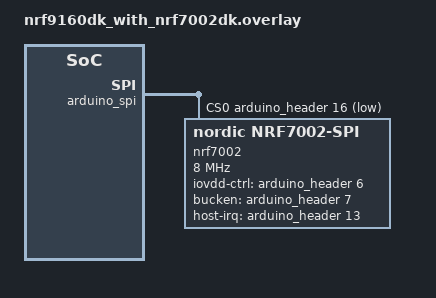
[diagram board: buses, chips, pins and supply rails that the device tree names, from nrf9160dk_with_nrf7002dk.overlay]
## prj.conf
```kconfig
#
# Copyright (c) 2021 Nordic Semiconductor ASA
#
# SPDX-License-Identifier: LicenseRef-Nordic-5-Clause
#

# General config
CONFIG_NEWLIB_LIBC=y
CONFIG_NEWLIB_LIBC_NANO=y
CONFIG_NEWLIB_LIBC_FLOAT_PRINTF=y
CONFIG_ASSERT=y
CONFIG_REBOOT=y
CONFIG_FPU=y

# Heap and stacks
CONFIG_HEAP_MEM_POOL_SIZE=47250
CONFIG_MAIN_STACK_SIZE=4096
CONFIG_SYSTEM_WORKQUEUE_STACK_SIZE=8192
CONFIG_HW_STACK_PROTECTION=y
# Increase AT monitor heap size to be able to fit both neighbor cell measurement
# and other AT notifications that may come in rapid succession.
CONFIG_AT_MONITOR_HEAP_SIZE=1024

# Logging
CONFIG_LOG=y
CONFIG_LOG_MODE_DEFERRED=y

# nRF modem library
CONFIG_NRF_MODEM_LIB=y
CONFIG_NRF_MODEM_LIB_ON_FAULT_APPLICATION_SPECIFIC=y

# AT Host library - Used to send AT commands directy from an UART terminal and to allow
#		    integration with nRF Connect for Desktop LTE Link monitor application.
CONFIG_AT_HOST_LIBRARY=y

# Network
CONFIG_NETWORKING=y
CONFIG_NET_NATIVE=n
CONFIG_NET_SOCKETS=y
CONFIG_NET_SOCKETS_OFFLOAD=y
CONFIG_NET_IPV6=y
CONFIG_NET_IPV4=y

# LTE link control
CONFIG_LTE_AUTO_INIT_AND_CONNECT=n
CONFIG_LTE_NETWORK_MODE_NBIOT_GPS=y
# PCO
# CONFIG_PDN=y 
# CONFIG_PDN_LEGACY_PCO=y 
#nRF cloud
# CONFIG_MODEM_JWT=y
# CONFIG_NRF_CLOUD_CLIENT_ID_SRC_INTERNAL_UUID=y
## Power saving timers.
### 320 hours PSM.
CONFIG_LTE_PSM_REQ_RPTAU="11000001"
### 20 seconds active time.
CONFIG_LTE_PSM_REQ_RAT="00001010"

# Settings - Used to store real-time device configuration to flash.
CONFIG_SETTINGS=y
CONFIG_SETTINGS_FCB=y
CONFIG_FCB=y

# FOTA
CONFIG_FOTA_DOWNLOAD=y
CONFIG_DFU_TARGET=y
CONFIG_DOWNLOAD_CLIENT=y
CONFIG_DOWNLOAD_CLIENT_HTTP_FRAG_SIZE_1024=y
CONFIG_DOWNLOAD_CLIENT_STACK_SIZE=4096
CONFIG_DOWNLOAD_CLIENT_BUF_SIZE=2300
CONFIG_DOWNLOAD_CLIENT_MAX_HOSTNAME_SIZE=128

# Flash - Used in FOTA, settings and storage for P-GPS.
CONFIG_FLASH=y
CONFIG_FLASH_PAGE_LAYOUT=y
CONFIG_FLASH_MAP=y
CONFIG_STREAM_FLASH=y
CONFIG_MPU_ALLOW_FLASH_WRITE=y

# MCUBOOT
CONFIG_BOOTLOADER_MCUBOOT=y
CONFIG_IMG_MANAGER=y
CONFIG_MCUBOOT_IMG_MANAGER=y
CONFIG_IMG_ERASE_PROGRESSIVELY=y
CONFIG_SECURE_BOOT=y
CONFIG_BUILD_S1_VARIANT=y

# Watchdog
CONFIG_WATCHDOG_APPLICATION=n

# Application Event Manager
CONFIG_APP_EVENT_MANAGER=y
CONFIG_APP_EVENT_MANAGER_LOG_EVENT_TYPE=n

# cJSON - Used in cloud data encoding.
CONFIG_CJSON_LIB=y

# CAF - Common Application Framework
CONFIG_CAF=y
CONFIG_LED=y
CONFIG_CAF_LEDS=y
CONFIG_CAF_INIT_LOG_LED_READY_EVENTS=n
CONFIG_CAF_INIT_LOG_LED_EVENTS=n
CONFIG_CAF_INIT_LOG_MODULE_STATE_EVENTS=n

# Location related configuration
CONFIG_LOCATION=y
CONFIG_LOCATION_REQUEST_DEFAULT_METHOD_FIRST_GNSS=y
CONFIG_LOCATION_REQUEST_DEFAULT_METHOD_SECOND_CELLULAR=y
CONFIG_LOCATION_REQUEST_DEFAULT_GNSS_TIMEOUT=90000
CONFIG_LOCATION_REQUEST_DEFAULT_CELLULAR_TIMEOUT=11000
CONFIG_LOCATION_DATA_DETAILS=y
CONFIG_LOCATION_LOG_LEVEL_WRN=y

# Default cloud transport service
CONFIG_NRF_CLOUD_MQTT=y
CONFIG_HW_ID_LIBRARY=y
CONFIG_HW_ID_LIBRARY_SOURCE_IMEI=y
```

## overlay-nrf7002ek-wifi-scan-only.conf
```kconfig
#
# Copyright (c) 2022 Nordic Semiconductor ASA
#
# SPDX-License-Identifier: LicenseRef-Nordic-5-Clause
#

# Overlay to use nRF7002 EK on top of nrf9160 DK for Wi-Fi scanning

# Disable modem traces as UART1 is disabled
CONFIG_NRF_MODEM_LIB_TRACE=n

# Does not work with buttons and LEDs
CONFIG_UI_MODULE=n
CONFIG_LED_CONTROL=n
CONFIG_LED=n
CONFIG_LED_GPIO=n
CONFIG_CAF_LEDS=n
CONFIG_DK_LIBRARY=n

# Actual configs for the Wi-Fi
CONFIG_WIFI=y
CONFIG_WIFI_NRF700X=y

# Wi-Fi location
CONFIG_LOCATION_METHOD_WIFI=y
CONFIG_LOCATION_REQUEST_DEFAULT_METHOD_FIRST_GNSS=y
CONFIG_LOCATION_REQUEST_DEFAULT_METHOD_SECOND_WIFI=y
CONFIG_LOCATION_REQUEST_DEFAULT_METHOD_THIRD_CELLULAR=y

CONFIG_LOCATION_METHOD_WIFI_SCANNING_RESULTS_MAX_CNT=30
CONFIG_LOCATION_WORKQUEUE_STACK_SIZE=8192
# Needed to handle more scan results
CONFIG_HEAP_MEM_POOL_SIZE=70000

# Not for LTE throughput testing
CONFIG_NRF_MODEM_LIB_SHMEM_TX_SIZE=4096
CONFIG_NRF_MODEM_LIB_SHMEM_RX_SIZE=4096

# Scan only using offload API
CONFIG_WPA_SUPP=n

# For nRF9160 the default is socket interface
CONFIG_NET_DEFAULT_IF_ETHERNET=y
CONFIG_MBEDTLS=n
CONFIG_NORDIC_SECURITY_BACKEND=n

# Networking
CONFIG_NET_L2_ETHERNET=y
CONFIG_NET_NATIVE=y
CONFIG_NET_IPV4=y
CONFIG_NET_DHCPV4=y
CONFIG_NET_STATISTICS=y
CONFIG_NET_STATISTICS_WIFI=y
CONFIG_NET_STATISTICS_USER_API=y
CONFIG_NET_CONTEXT_SYNC_RECV=y

# Disable unused networking options
CONFIG_NET_IPV6=n

# Memory configurations
CONFIG_NET_BUF_RX_COUNT=8
CONFIG_NET_BUF_TX_COUNT=8
CONFIG_NET_PKT_RX_COUNT=1
CONFIG_NET_PKT_TX_COUNT=1
CONFIG_NET_TX_STACK_SIZE=4096
CONFIG_NET_RX_STACK_SIZE=4096
CONFIG_NET_TC_TX_COUNT=1
CONFIG_NET_MAX_CONTEXTS=5
CONFIG_NET_MGMT_EVENT_STACK_SIZE=1024
```

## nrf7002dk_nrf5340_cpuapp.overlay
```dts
// To get started, press Ctrl+Space to bring up the completion menu and view the available nodes.

// You can also use the buttons in the sidebar to perform actions on nodes.
// Actions currently available include:

// * Enabling / disabling the node
// * Adding the bus to a bus
// * Removing the node
// * Connecting ADC channels

// For more help, browse the DeviceTree documentation at https://docs.zephyrproject.org/latest/guides/dts/index.html
// You can also visit the nRF DeviceTree extension documentation at https://nrfconnect.github.io/vscode-nrf-connect/devicetree/nrfdevicetree.html


/ {
    wifi_gpios {
		compatible = "gpio-keys";
        status = "okay";
		iovdd:iovdd {
			gpios = <&gpio0 31 GPIO_ACTIVE_HIGH>;
			label = "iovdd-ctrl-gpios";
		};
		bucken: bucken {
			gpios = <&gpio0 12 GPIO_ACTIVE_HIGH>;
			label = "bucken-gpios";
		};
	};
};


&qspi {
	status = "disabled";
	
	nrf7002: nrf7002@1 {
		status = "disabled";
	};
};
```

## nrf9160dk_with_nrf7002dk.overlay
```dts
/*
 * Copyright (c) 2022 Nordic Semiconductor ASA
 *
 * SPDX-License-Identifier: LicenseRef-Nordic-5-Clause
 */

 &arduino_spi {
	status = "okay";
	cs-gpios = <&arduino_header 16 GPIO_ACTIVE_LOW>; /* D10 */

	nrf7002: nrf7002@0 {
		compatible = "nordic,nrf7002-spi";
		status = "okay";
		reg = <0>;
		spi-max-frequency = <DT_FREQ_M(8)>;

		iovdd-ctrl-gpios = <&arduino_header 6 GPIO_ACTIVE_HIGH>;    /* D0 */                                                                                                                   
		bucken-gpios = <&arduino_header 7 GPIO_ACTIVE_HIGH>;        /* D1 */
		host-irq-gpios = <&arduino_header 13 GPIO_ACTIVE_HIGH>;     /* D7 */
	};
};


/* Use high drive mode on SPI pins that handle communication with nRF7002
 * so that SCK frequency > 4 MHz can be used. */
 &spi3_default {
	group1 {
		nordic,drive-mode = <NRF_DRIVE_H0H1>;
	};
};

/* Disabled because of conflicts on P0.00 and P0.01 - Arduino pins D0 and D1
 * (iovdd-ctrl-gpios and bucken-gpios in nrf7002_ek, respectively). */
&uart1 {
	status = "disabled";
};


&wdt {
	status = "disabled";
};
```

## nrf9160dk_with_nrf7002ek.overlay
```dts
/*
 * Copyright (c) 2022 Nordic Semiconductor ASA
 *
 * SPDX-License-Identifier: LicenseRef-Nordic-5-Clause
 */

/* Use high drive mode on SPI pins that handle communication with nRF7002
 * so that SCK frequency > 4 MHz can be used. */
 &spi3_default {
	group1 {	
		nordic,drive-mode = <NRF_DRIVE_H0H1>;
	};
};

/* Disabled because of conflicts on P0.00 and P0.01 - Arduino pins D0 and D1
 * (iovdd-ctrl-gpios and bucken-gpios in nrf7002_ek, respectively). */
&uart1 {
	status = "disabled";
};





  
```

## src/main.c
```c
/*
 * Copyright (c) 2021 Nordic Semiconductor ASA
 *
 * SPDX-License-Identifier: LicenseRef-Nordic-5-Clause
 */

#include <zephyr/kernel.h>
#include <stdio.h>
#include <string.h>
#include <stdlib.h>
#include <app_event_manager.h>
#if defined(CONFIG_NRF_MODEM_LIB)
#include <modem/nrf_modem_lib.h>
#endif /* CONFIG_NRF_MODEM_LIB */
#include <zephyr/sys/reboot.h>
#if defined(CONFIG_LWM2M_INTEGRATION)
#include <net/lwm2m_client_utils.h>
#endif /* CONFIG_LWM2M_INTEGRATION */
#include <net/nrf_cloud.h>

/* Module name is used by the Application Event Manager macros in this file */
#define MODULE main
#include <caf/events/module_state_event.h>

#include "modules_common.h"
#include "events/app_module_event.h"
#include "events/cloud_module_event.h"
#include "events/data_module_event.h"
#include "events/sensor_module_event.h"
#include "events/util_module_event.h"
#include "events/modem_module_event.h"

#include <zephyr/logging/log.h>
#include <zephyr/logging/log_ctrl.h>

LOG_MODULE_REGISTER(MODULE, CONFIG_APPLICATION_MODULE_LOG_LEVEL);

/* Message structure. Events from other modules are converted to messages
 * in the Application Event Manager handler, and then queued up in the message queue
 * for processing in the main thread.
 */
struct app_msg_data {
	union {
		struct cloud_module_event cloud;
		struct sensor_module_event sensor;
		struct data_module_event data;
		struct util_module_event util;
		struct modem_module_event modem;
		struct app_module_event app;
	} module;
};

/* Application module super states. */
static enum state_type {
	STATE_INIT,
	STATE_RUNNING,
	STATE_SHUTDOWN
} state;

/* Application sub states. The application can be in either active or passive
 * mode.
 *
 * Active mode: Sensor data and GNSS position is acquired at a configured
 *		interval and sent to cloud.
 *
 * Passive mode: Sensor data and GNSS position is acquired when movement is
 *		 detected, or after the configured movement timeout occurs.
 */
static enum sub_state_type {
	SUB_STATE_ACTIVE_MODE,
	SUB_STATE_PASSIVE_MODE,
} sub_state;

/* Internal copy of the device configuration. */
static struct cloud_data_cfg app_cfg;

/* Variable that keeps track whether modem static data has been successfully sampled by the
 * modem module. Modem static data does not change and only needs to be sampled and sent to cloud
 * once.
 */
static bool modem_static_sampled;

/* Variable that is set high whenever a sample request is ongoing. */
static bool sample_request_ongoing;

/* Variable that is set high whenever the device is considered active (under movement). */
static bool activity;

/* Timer callback used to signal when timeout has occurred both in active
 * and passive mode.
 */
static void data_sample_timer_handler(struct k_timer *timer);

/* Application module message queue. */
#define APP_QUEUE_ENTRY_COUNT		10
#define APP_QUEUE_BYTE_ALIGNMENT	4

/* Data fetching timeouts */
#define DATA_FETCH_TIMEOUT_DEFAULT 2

#define FW_VERSION					"1.2.2"

K_MSGQ_DEFINE(msgq_app, sizeof(struct app_msg_data), APP_QUEUE_ENTRY_COUNT,
	      APP_QUEUE_BYTE_ALIGNMENT);

/* Data sample timer used in active mode. */
K_TIMER_DEFINE(data_sample_timer, data_sample_timer_handler, NULL);

/* Movement timer used to detect movement timeouts in passive mode. */
K_TIMER_DEFINE(movement_timeout_timer, data_sample_timer_handler, NULL);

/* Movement resolution timer decides the period after movement that consecutive
 * movements are ignored and do not cause data collection. This is used to
 * lower power consumption by limiting how often GNSS search is performed and
 * data is sent on air.
 */
K_TIMER_DEFINE(movement_resolution_timer, NULL, NULL);

/* Module data structure to hold information of the application module, which
 * opens up for using convenience functions available for modules.
 */
static struct module_data self = {
	.name = "app",
	.msg_q = &msgq_app,
	.supports_shutdown = true,
};

#if defined(CONFIG_NRF_MODEM_LIB)
NRF_MODEM_LIB_ON_INIT(asset_tracker_init_hook, on_modem_lib_init, NULL);

/* Initialized to value different than success (0) */
static int modem_lib_init_result = -1;

static void on_modem_lib_init(int ret, void *ctx)
{
	modem_lib_init_result = ret;
}
#endif /* CONFIG_NRF_MODEM_LIB */

/* Convenience functions used in internal state handling. */
static char *state2str(enum state_type new_state)
{
	switch (new_state) {
	case STATE_INIT:
		return "STATE_INIT";
	case STATE_RUNNING:
		return "STATE_RUNNING";
	case STATE_SHUTDOWN:
		return "STATE_SHUTDOWN";
	default:
		return "Unknown";
	}
}

static char *sub_state2str(enum sub_state_type new_state)
{
	switch (new_state) {
	case SUB_STATE_ACTIVE_MODE:
		return "SUB_STATE_ACTIVE_MODE";
	case SUB_STATE_PASSIVE_MODE:
		return "SUB_STATE_PASSIVE_MODE";
	default:
		return "Unknown";
	}
}

static void state_set(enum state_type new_state)
{
	if (new_state == state) {
		LOG_DBG("State: %s", state2str(state));
		return;
	}

	LOG_DBG("State transition %s --> %s",
		state2str(state),
		state2str(new_state));

	state = new_state;
}

static void sub_state_set(enum sub_state_type new_state)
{
	if (new_state == sub_state) {
		LOG_DBG("Sub state: %s", sub_state2str(sub_state));
		return;
	}

	LOG_DBG("Sub state transition %s --> %s",
		sub_state2str(sub_state),
		sub_state2str(new_state));

	sub_state = new_state;
}

/* Check the return code from nRF modem library initialization to ensure that
 * the modem is rebooted if a modem firmware update is ready to be applied or
 * an error condition occurred during firmware update or library initialization.
 */
static void handle_nrf_modem_lib_init_ret(void)
{
#if defined(CONFIG_NRF_MODEM_LIB)
	int ret = modem_lib_init_result;

	/* Handle return values relating to modem firmware update */
	switch (ret) {
	case 0:
		/* Initialization successful, no action required. */
		return;
	case MODEM_DFU_RESULT_OK:
		LOG_DBG("MODEM UPDATE OK. Will run new modem firmware after reboot");
		break;
	case MODEM_DFU_RESULT_UUID_ERROR:
	case MODEM_DFU_RESULT_AUTH_ERROR:
		LOG_ERR("MODEM UPDATE ERROR %d. Will run old firmware", ret);
		break;
	case MODEM_DFU_RESULT_HARDWARE_ERROR:
	case MODEM_DFU_RESULT_INTERNAL_ERROR:
		LOG_ERR("MODEM UPDATE FATAL ERROR %d. Modem failure", ret);
		break;
	default:
		/* All non-zero return codes other than DFU result codes are
		 * considered irrecoverable and a reboot is needed.
		 */
		LOG_ERR("nRF modem lib initialization failed, error: %d", ret);
		break;
	}

#if defined(CONFIG_NRF_CLOUD_FOTA)
	/* Ignore return value, rebooting below */
	(void)nrf_cloud_fota_pending_job_validate(NULL);
#elif defined(CONFIG_LWM2M_INTEGRATION)
	lwm2m_verify_modem_fw_update();
#endif
	LOG_DBG("Rebooting...");
	LOG_PANIC();
	sys_reboot(SYS_REBOOT_COLD);
#endif /* CONFIG_NRF_MODEM_LIB */
}

/* Application Event Manager handler. Puts event data into messages and adds them to the
 * application message queue.
 */
static bool app_event_handler(const struct app_event_header *aeh)
{
	struct app_msg_data msg = {0};
	bool enqueue_msg = false;

	if (is_cloud_module_event(aeh)) {
		struct cloud_module_event *evt = cast_cloud_module_event(aeh);

		msg.module.cloud = *evt;
		enqueue_msg = true;
	}

	if (is_app_module_event(aeh)) {
		struct app_module_event *evt = cast_app_module_event(aeh);

		msg.module.app = *evt;
		enqueue_msg = true;
	}

	if (is_data_module_event(aeh)) {
		struct data_module_event *evt = cast_data_module_event(aeh);

		msg.module.data = *evt;
		enqueue_msg = true;
	}

	if (is_sensor_module_event(aeh)) {
		struct sensor_module_event *evt = cast_sensor_module_event(aeh);

		msg.module.sensor = *evt;
		enqueue_msg = true;
	}

	if (is_util_module_event(aeh)) {
		struct util_module_event *evt = cast_util_module_event(aeh);

		msg.module.util = *evt;
		enqueue_msg = true;
	}

	if (is_modem_module_event(aeh)) {
		struct modem_module_event *evt = cast_modem_module_event(aeh);

		msg.module.modem = *evt;
		enqueue_msg = true;
	}

	if (enqueue_msg) {
		int err = module_enqueue_msg(&self, &msg);

		if (err) {
			LOG_ERR("Message could not be enqueued");
			SEND_ERROR(app, APP_EVT_ERROR, err);
		}
	}

	return false;
}

static void data_sample_timer_handler(struct k_timer *timer)
{
	ARG_UNUSED(timer);

	/* Cancel if a previous sample request has not completed or the device is not under
	 * activity in passive mode.
	 */
	if (sample_request_ongoing || ((sub_state == SUB_STATE_PASSIVE_MODE) && !activity)) {
		return;
	}

	SEND_EVENT(app, APP_EVT_DATA_GET_ALL);
}

/* Static module functions. */
static void passive_mode_timers_start_all(void)
{
	LOG_DBG("Device mode: Passive");
	LOG_DBG("Start movement timeout: %d seconds interval", app_cfg.movement_timeout);

	LOG_DBG("%d seconds until movement can trigger a new data sample/publication",
		app_cfg.movement_resolution);

	k_timer_start(&data_sample_timer,
		      K_SECONDS(app_cfg.movement_resolution),
		      K_SECONDS(app_cfg.movement_resolution));

	k_timer_start(&movement_resolution_timer,
		      K_SECONDS(app_cfg.movement_resolution),
		      K_SECONDS(0));

	k_timer_start(&movement_timeout_timer,
		      K_SECONDS(app_cfg.movement_timeout),
		      K_SECONDS(app_cfg.movement_timeout));
}

static void active_mode_timers_start_all(void)
{
	LOG_DBG("Device mode: Active");
	LOG_DBG("Start data sample timer: %d seconds interval", app_cfg.active_wait_timeout);

	k_timer_start(&data_sample_timer,
		      K_SECONDS(app_cfg.active_wait_timeout),
		      K_SECONDS(app_cfg.active_wait_timeout));

	k_timer_stop(&movement_resolution_timer);
	k_timer_stop(&movement_timeout_timer);
}

static void activity_event_handle(enum sensor_module_event_type sensor_event)
{
	__ASSERT(((sensor_event == SENSOR_EVT_MOVEMENT_ACTIVITY_DETECTED) ||
		  (sensor_event == SENSOR_EVT_MOVEMENT_INACTIVITY_DETECTED)),
		  "Unknown event");

	activity = (sensor_event == SENSOR_EVT_MOVEMENT_ACTIVITY_DETECTED) ? true : false;

	if (sample_request_ongoing) {
		LOG_DBG("Sample request ongoing, abort request.");
		return;
	}

	if ((sensor_event == SENSOR_EVT_MOVEMENT_ACTIVITY_DETECTED) &&
	    (k_timer_remaining_get(&movement_resolution_timer) != 0)) {
		LOG_DBG("Movement resolution timer has not expired, abort request.");
		return;
	}

	SEND_EVENT(app, APP_EVT_DATA_GET_ALL);
	passive_mode_timers_start_all();
}

static void data_get(void)
{
	struct app_module_event *app_module_event = new_app_module_event();

	__ASSERT(app_module_event, "Not enough heap left to allocate event");

	size_t count = 0;

	/* Set a low sample timeout. If location is requested, the sample timeout
	 * will be increased to accommodate the location request.
	 */
	app_module_event->timeout = DATA_FETCH_TIMEOUT_DEFAULT;

	/* Specify which data that is to be included in the transmission. */
	app_module_event->data_list[count++] = APP_DATA_MODEM_DYNAMIC;
	app_module_event->data_list[count++] = APP_DATA_BATTERY;
	app_module_event->data_list[count++] = APP_DATA_ENVIRONMENTAL;

	if (!modem_static_sampled) {
		app_module_event->data_list[count++] = APP_DATA_MODEM_STATIC;
	}

	if (!app_cfg.no_data.neighbor_cell || !app_cfg.no_data.gnss || !app_cfg.no_data.wifi) {
		app_module_event->data_list[count++] = APP_DATA_LOCATION;

		/* Set application module timeout when location sampling is requested.
		 * This is selected to be long enough so that most of the GNSS would
		 * have enough time to run to get a fix. We also want it to be smaller than
		 * the sampling interval (120s). So, 110s was selected but we take
		 * minimum of sampling interval minus 5 (just some selected number) and 110.
		 * And mode (active or passive) is taken into account.
		 * If the timeout would become smaller than 5s, we want to ensure some time for
		 * the modules so the minimum value for application module timeout is 5s.
		 */
		app_module_event->timeout = (app_cfg.active_mode) ?
			MIN(app_cfg.active_wait_timeout - 5, 110) :
			MIN(app_cfg.movement_resolution - 5, 110);
		app_module_event->timeout = MAX(app_module_event->timeout, 5);
	}

	/* Set list count to number of data types passed in app_module_event. */
	app_module_event->count = count;
	app_module_event->type = APP_EVT_DATA_GET;

	APP_EVENT_SUBMIT(app_module_event);
}

/* Message handler for STATE_INIT. */
static void on_state_init(struct app_msg_data *msg)
{
	if (IS_EVENT(msg, data, DATA_EVT_CONFIG_INIT)) {
		/* Keep a copy of the new configuration. */
		app_cfg = msg->module.data.data.cfg;

		if (app_cfg.active_mode) {
			active_mode_timers_start_all();
		} else {
			passive_mode_timers_start_all();
		}

		state_set(STATE_RUNNING);
		sub_state_set(app_cfg.active_mode ? SUB_STATE_ACTIVE_MODE :
						    SUB_STATE_PASSIVE_MODE);
	}
}

/* Message handler for STATE_RUNNING. */
static void on_state_running(struct app_msg_data *msg)
{
	if (IS_EVENT(msg, cloud, CLOUD_EVT_CONNECTED)) {
		data_get();
	}

	if (IS_EVENT(msg, app, APP_EVT_DATA_GET_ALL)) {
		data_get();
	}
}

/* Message handler for SUB_STATE_PASSIVE_MODE. */
void on_sub_state_passive(struct app_msg_data *msg)
{
	if (IS_EVENT(msg, data, DATA_EVT_CONFIG_READY)) {
		/* Keep a copy of the new configuration. */
		app_cfg = msg->module.data.data.cfg;

		if (app_cfg.active_mode) {
			active_mode_timers_start_all();
			sub_state_set(SUB_STATE_ACTIVE_MODE);
			return;
		}

		passive_mode_timers_start_all();
	}

	if ((IS_EVENT(msg, sensor, SENSOR_EVT_MOVEMENT_ACTIVITY_DETECTED)) ||
	    (IS_EVENT(msg, sensor, SENSOR_EVT_MOVEMENT_INACTIVITY_DETECTED))) {
		activity_event_handle(msg->module.sensor.type);
	}
}

/* Message handler for SUB_STATE_ACTIVE_MODE. */
static void on_sub_state_active(struct app_msg_data *msg)
{
	if (IS_EVENT(msg, data, DATA_EVT_CONFIG_READY)) {
		/* Keep a copy of the new configuration. */
		app_cfg = msg->module.data.data.cfg;

		if (!app_cfg.active_mode) {
			passive_mode_timers_start_all();
			sub_state_set(SUB_STATE_PASSIVE_MODE);
			return;
		}

		active_mode_timers_start_all();
	}
}

/* Message handler for all states. */
static void on_all_events(struct app_msg_data *msg)
{
	if (IS_EVENT(msg, util, UTIL_EVT_SHUTDOWN_REQUEST)) {
		k_timer_stop(&data_sample_timer);
		k_timer_stop(&movement_timeout_timer);
		k_timer_stop(&movement_resolution_timer);

		SEND_SHUTDOWN_ACK(app, APP_EVT_SHUTDOWN_READY, self.id);
		state_set(STATE_SHUTDOWN);
	}

	if (IS_EVENT(msg, modem, MODEM_EVT_MODEM_STATIC_DATA_READY)) {
		modem_static_sampled = true;
	}

	if (IS_EVENT(msg, app, APP_EVT_DATA_GET)) {
		sample_request_ongoing = true;
	}

	if (IS_EVENT(msg, data, DATA_EVT_DATA_READY)) {
		sample_request_ongoing = false;
	}

	if (IS_EVENT(msg, sensor, SENSOR_EVT_MOVEMENT_IMPACT_DETECTED)) {
		SEND_EVENT(app, APP_EVT_DATA_GET_ALL);
	}
}

void main(void)
{
	int err;
	struct app_msg_data msg = { 0 };

	if (!IS_ENABLED(CONFIG_LWM2M_CARRIER)) {
		handle_nrf_modem_lib_init_ret();
	}

	if (app_event_manager_init()) {
		/* Without the Application Event Manager, the application will not work
		 * as intended. A reboot is required in an attempt to recover.
		 */
		LOG_ERR("Application Event Manager could not be initialized, rebooting...");
		k_sleep(K_SECONDS(5));
		sys_reboot(SYS_REBOOT_COLD);
	} else {
		module_set_state(MODULE_STATE_READY);
		SEND_EVENT(app, APP_EVT_START);
	}

	self.thread_id = k_current_get();

	err = module_start(&self);
	if (err) {
		LOG_ERR("Failed starting module, error: %d", err);
		SEND_ERROR(app, APP_EVT_ERROR, err);
	}

	LOG_DBG("Asset tracker with wifi positioning, version is %s\r\n.", FW_VERSION);

	while (true) {
		module_get_next_msg(&self, &msg);

		switch (state) {
		case STATE_INIT:
			on_state_init(&msg);
			break;
		case STATE_RUNNING:
			switch (sub_state) {
			case SUB_STATE_ACTIVE_MODE:
				on_sub_state_active(&msg);
				break;
			case SUB_STATE_PASSIVE_MODE:
				on_sub_state_passive(&msg);
				break;
			default:
				LOG_ERR("Unknown sub state");
				break;
			}

			on_state_running(&msg);
			break;
		case STATE_SHUTDOWN:
			/* The shutdown state has no transition. */
			break;
		default:
			LOG_ERR("Unknown state");
			break;
		}

		on_all_events(&msg);
	}
}

APP_EVENT_LISTENER(MODULE, app_event_handler);
APP_EVENT_SUBSCRIBE_EARLY(MODULE, cloud_module_event);
APP_EVENT_SUBSCRIBE(MODULE, app_module_event);
APP_EVENT_SUBSCRIBE(MODULE, data_module_event);
APP_EVENT_SUBSCRIBE(MODULE, util_module_event);
APP_EVENT_SUBSCRIBE_FINAL(MODULE, sensor_module_event);
APP_EVENT_SUBSCRIBE_FINAL(MODULE, modem_module_event);
```
